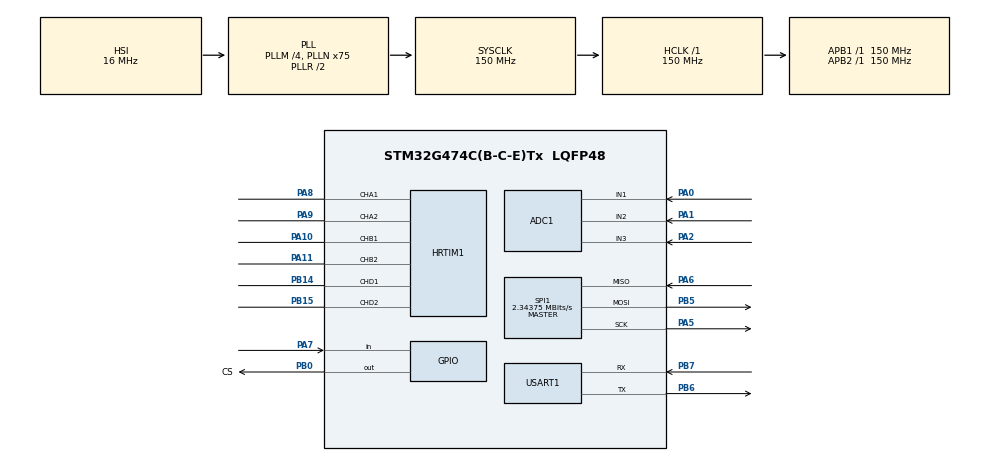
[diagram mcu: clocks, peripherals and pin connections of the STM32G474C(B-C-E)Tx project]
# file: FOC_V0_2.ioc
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ADC1.DMAContinuousRequests=DISABLE
ADC1.EnableInjectedConversion=ENABLE
ADC1.EnableRegularConversion=DISABLE
ADC1.ExternalTrigInjecConv=ADC_EXTERNALTRIGINJEC_HRTIM_TRG2
ADC1.GainCompensation=0
ADC1.InjNumberOfConversion=3
ADC1.InjectedChannel-6\#ChannelInjectedConversion=ADC_CHANNEL_3
ADC1.InjectedChannel-7\#ChannelInjectedConversion=ADC_CHANNEL_2
ADC1.InjectedChannel-8\#ChannelInjectedConversion=ADC_CHANNEL_1
ADC1.InjectedOffsetNumber-6\#ChannelInjectedConversion=ADC_OFFSET_NONE
ADC1.InjectedOffsetNumber-7\#ChannelInjectedConversion=ADC_OFFSET_NONE
ADC1.InjectedOffsetNumber-8\#ChannelInjectedConversion=ADC_OFFSET_NONE
ADC1.InjectedRank-6\#ChannelInjectedConversion=1
ADC1.InjectedRank-7\#ChannelInjectedConversion=2
ADC1.InjectedRank-8\#ChannelInjectedConversion=3
ADC1.InjectedSamplingTime-6\#ChannelInjectedConversion=ADC_SAMPLETIME_24CYCLES_5
ADC1.InjectedSamplingTime-7\#ChannelInjectedConversion=ADC_SAMPLETIME_24CYCLES_5
ADC1.InjectedSamplingTime-8\#ChannelInjectedConversion=ADC_SAMPLETIME_24CYCLES_5
ADC1.Overrun=ADC_OVR_DATA_OVERWRITTEN
ADC1.Rank1_Channel=ADC_CHANNEL_3
ADC1.Rank2_Channel=ADC_CHANNEL_2
ADC1.Rank3_Channel=ADC_CHANNEL_1
ADC1.master=1
Dma.Request0=SPI1_RX
Dma.Request1=SPI1_TX
Dma.SPI1_RX.0.Direction=DMA_PERIPH_TO_MEMORY
Dma.SPI1_RX.0.EventEnable=DISABLE
Dma.SPI1_RX.0.Instance=DMA1_Channel1
Dma.SPI1_RX.0.MemDataAlignment=DMA_MDATAALIGN_BYTE
Dma.SPI1_RX.0.MemInc=DMA_MINC_ENABLE
Dma.SPI1_RX.0.Mode=DMA_NORMAL
Dma.SPI1_RX.0.PeriphDataAlignment=DMA_PDATAALIGN_BYTE
Dma.SPI1_RX.0.PeriphInc=DMA_PINC_DISABLE
Dma.SPI1_RX.0.Polarity=HAL_DMAMUX_REQ_GEN_RISING
Dma.SPI1_RX.0.Priority=DMA_PRIORITY_LOW
Dma.SPI1_RX.0.RequestNumber=1
Dma.SPI1_RX.0.SignalID=NONE
Dma.SPI1_RX.0.SyncEnable=DISABLE
Dma.SPI1_RX.0.SyncPolarity=HAL_DMAMUX_SYNC_NO_EVENT
Dma.SPI1_RX.0.SyncRequestNumber=1
Dma.SPI1_RX.0.SyncSignalID=NONE
Dma.SPI1_TX.1.Direction=DMA_MEMORY_TO_PERIPH
Dma.SPI1_TX.1.EventEnable=DISABLE
Dma.SPI1_TX.1.Instance=DMA1_Channel2
Dma.SPI1_TX.1.MemDataAlignment=DMA_MDATAALIGN_BYTE
Dma.SPI1_TX.1.MemInc=DMA_MINC_ENABLE
Dma.SPI1_TX.1.Mode=DMA_NORMAL
Dma.SPI1_TX.1.PeriphDataAlignment=DMA_PDATAALIGN_BYTE
Dma.SPI1_TX.1.PeriphInc=DMA_PINC_DISABLE
Dma.SPI1_TX.1.Polarity=HAL_DMAMUX_REQ_GEN_RISING
Dma.SPI1_TX.1.Priority=DMA_PRIORITY_LOW
Dma.SPI1_TX.1.RequestNumber=1
Dma.SPI1_TX.1.SignalID=NONE
Dma.SPI1_TX.1.SyncEnable=DISABLE
Dma.SPI1_TX.1.SyncPolarity=HAL_DMAMUX_SYNC_NO_EVENT
Dma.SPI1_TX.1.SyncRequestNumber=1
Dma.SPI1_TX.1.SyncSignalID=NONE
HRTIM1.ADCTrigger2_Source1=HRTIM_ADCTRIGGEREVENT24_MASTER_CMP1
HRTIM1.ADCTrigger_Id1=__NULL
HRTIM1.ADCTrigger_Id2=HRTIM_ADCTRIGGER_2
HRTIM1.CompareUnit1-MasterTimer=HRTIM_COMPAREUNIT_1
HRTIM1.CompareUnit1-Output_TA1TA2=HRTIM_COMPAREUNIT_1
HRTIM1.CompareUnit1-Output_TB1TB2=HRTIM_COMPAREUNIT_1
HRTIM1.CompareUnit1-Output_TD1TD2=HRTIM_COMPAREUNIT_1
HRTIM1.CompareUnit2-MasterTimer=__NULL
HRTIM1.CompareUnit2-Output_TA1TA2=__NULL
HRTIM1.CompareValue1-MasterTimer=59999
HRTIM1.CompareValue1-Output_TA1TA2=20000
HRTIM1.CompareValue1-Output_TB1TB2=20000
HRTIM1.CompareValue1-Output_TD1TD2=20000
HRTIM1.DeadTimeInsertion-Output_TA1TA2=HRTIM_TIMDEADTIMEINSERTION_ENABLED
HRTIM1.DeadTimeInsertion-Output_TB1TB2=HRTIM_TIMDEADTIMEINSERTION_ENABLED
HRTIM1.DeadTimeInsertion-Output_TD1TD2=HRTIM_TIMDEADTIMEINSERTION_ENABLED
HRTIM1.Event_EEV2=__NULL
HRTIM1.FallingValue-Output_TA1TA2=30
HRTIM1.FallingValue-Output_TB1TB2=30
HRTIM1.FallingValue-Output_TD1TD2=30
HRTIM1.GreaterCMP1_TA=HRTIM_TIMERGTCMP1_GREATER
HRTIM1.GreaterCMP1_TB=HRTIM_TIMERGTCMP1_GREATER
HRTIM1.GreaterCMP1_TD=HRTIM_TIMERGTCMP1_GREATER
HRTIM1.NumberADCTriggerSource2=1
HRTIM1.NumberFaultEnable-Output_TB1TB2=0
HRTIM1.NumberResetSource1-Output_TA1TA2=1
HRTIM1.NumberResetSource1-Output_TB1TB2=1
HRTIM1.NumberResetSource1-Output_TD1TD2=1
HRTIM1.NumberResetTrigger-Output_TB1TB2=0
HRTIM1.NumberResetTrigger-Output_TD1TD2=0
HRTIM1.NumberSetSource1-Output_TA1TA2=1
HRTIM1.NumberSetSource1-Output_TB1TB2=1
HRTIM1.NumberSetSource1-Output_TD1TD2=1
HRTIM1.NumberUpdateTrigger-Output_TA1TA2=1
HRTIM1.NumberUpdateTrigger-Output_TB1TB2=1
HRTIM1.NumberUpdateTrigger-Output_TD1TD2=1
HRTIM1.Periode_MASTER=60000
HRTIM1.Periode_TA=60000
HRTIM1.Periode_TB=60000
HRTIM1.Periode_TD=60000
HRTIM1.PreloadEnable-MasterTimer=HRTIM_PRELOAD_ENABLED
HRTIM1.PreloadEnable-Output_TA1TA2=HRTIM_PRELOAD_ENABLED
HRTIM1.PreloadEnable-Output_TB1TB2=HRTIM_PRELOAD_ENABLED
HRTIM1.PreloadEnable-Output_TD1TD2=HRTIM_PRELOAD_ENABLED
HRTIM1.PrescalerDead-Output_TA1TA2=HRTIM_TIMDEADTIME_PRESCALERRATIO_DIV2
HRTIM1.PrescalerDead-Output_TB1TB2=HRTIM_TIMDEADTIME_PRESCALERRATIO_DIV2
HRTIM1.PrescalerDead-Output_TD1TD2=HRTIM_TIMDEADTIME_PRESCALERRATIO_DIV2
HRTIM1.PrescalerRatio_MASTER=HRTIM_PRESCALERRATIO_MUL8
HRTIM1.PrescalerRatio_TA=HRTIM_PRESCALERRATIO_MUL16
HRTIM1.PrescalerRatio_TB=HRTIM_PRESCALERRATIO_MUL16
HRTIM1.PrescalerRatio_TD=HRTIM_PRESCALERRATIO_MUL16
HRTIM1.RepetitionUpdate-MasterTimer=HRTIM_UPDATEONREPETITION_ENABLED
HRTIM1.RepetitionUpdate-Output_TA1TA2=HRTIM_UPDATEONREPETITION_ENABLED
HRTIM1.RepetitionUpdate-Output_TB1TB2=HRTIM_UPDATEONREPETITION_ENABLED
HRTIM1.RepetitionUpdate-Output_TD1TD2=HRTIM_UPDATEONREPETITION_ENABLED
HRTIM1.ResetOutput1_Source1-Output_TA1TA2=HRTIM_OUTPUTRESET_NONE
HRTIM1.ResetOutput1_Source1-Output_TB1TB2=HRTIM_OUTPUTRESET_NONE
HRTIM1.ResetOutput1_Source1-Output_TD1TD2=HRTIM_OUTPUTRESET_NONE
HRTIM1.ResetUpdate-Output_TB1TB2=HRTIM_TIMUPDATEONRESET_DISABLED
HRTIM1.RisingValue-Output_TA1TA2=30
HRTIM1.RisingValue-Output_TB1TB2=30
HRTIM1.RisingValue-Output_TD1TD2=30
HRTIM1.SetOutput1_Source1-Output_TA1TA2=HRTIM_OUTPUTSET_TIMCMP1
HRTIM1.SetOutput1_Source1-Output_TB1TB2=HRTIM_OUTPUTSET_TIMCMP1
HRTIM1.SetOutput1_Source1-Output_TD1TD2=HRTIM_OUTPUTSET_TIMCMP1
HRTIM1.UpDownMode-Output_TA1TA2=HRTIM_TIMERUPDOWNMODE_UPDOWN
HRTIM1.UpDownMode-Output_TB1TB2=HRTIM_TIMERUPDOWNMODE_UPDOWN
HRTIM1.UpDownMode-Output_TD1TD2=HRTIM_TIMERUPDOWNMODE_UPDOWN
HRTIM1.UpdateTrigger1-Output_TA1TA2=HRTIM_TIMUPDATETRIGGER_MASTER
HRTIM1.UpdateTrigger1-Output_TB1TB2=HRTIM_TIMUPDATETRIGGER_MASTER
HRTIM1.UpdateTrigger1-Output_TD1TD2=HRTIM_TIMUPDATETRIGGER_MASTER
HRTIM1.postscaler2=0
Mcu.Family=STM32G4
Mcu.Name=STM32G474C(B-C-E)Tx
Mcu.Package=LQFP48
NVIC.ADC1_2_IRQn=true\:0\:0\:false\:false\:true\:true\:true\:true
NVIC.DMA1_Channel1_IRQn=true\:0\:0\:false\:false\:true\:false\:true\:true
NVIC.DMA1_Channel2_IRQn=true\:0\:0\:false\:false\:true\:false\:true\:true
NVIC.PriorityGroup=NVIC_PRIORITYGROUP_4
NVIC.USART1_IRQn=true\:0\:0\:false\:false\:true\:true\:true\:true
PA0.Mode=IN1-Single-Ended
PA0.Signal=ADC1_IN1
PA1.Mode=IN2-Single-Ended
PA1.Signal=ADC1_IN2
PA10.Mode=Output_TB1TB2
PA10.Signal=HRTIM1_CHB1
PA11.Mode=Output_TB1TB2
PA11.Signal=HRTIM1_CHB2
PA13.Mode=Serial_Wire
PA13.Signal=SYS_JTMS-SWDIO
PA14.Mode=Serial_Wire
PA14.Signal=SYS_JTCK-SWCLK
PA2.Mode=IN3-Single-Ended
PA2.Signal=ADC1_IN3
PA5.GPIO_Speed=GPIO_SPEED_FREQ_VERY_HIGH
PA5.Mode=Full_Duplex_Master
PA5.Signal=SPI1_SCK
PA6.GPIO_Speed=GPIO_SPEED_FREQ_VERY_HIGH
PA6.Mode=Full_Duplex_Master
PA6.Signal=SPI1_MISO
PA7.GPIO_PuPd=GPIO_PULLUP
PA7.Signal=GPIO_Input
PA8.Mode=Output_TA1TA2
PA8.Signal=HRTIM1_CHA1
PA9.Mode=Output_TA1TA2
PA9.Signal=HRTIM1_CHA2
PB0.GPIO_Label=CS
PB0.GPIO_PuPd=GPIO_NOPULL
PB0.GPIO_Speed=GPIO_SPEED_FREQ_VERY_HIGH
PB0.PinState=GPIO_PIN_SET
PB0.Signal=GPIO_Output
PB14.Mode=Output_TD1TD2
PB14.Signal=HRTIM1_CHD1
PB15.Mode=Output_TD1TD2
PB15.Signal=HRTIM1_CHD2
PB5.GPIO_Speed=GPIO_SPEED_FREQ_VERY_HIGH
PB5.Mode=Full_Duplex_Master
PB5.Signal=SPI1_MOSI
PB6.Mode=Asynchronous
PB6.Signal=USART1_TX
PB7.Mode=Asynchronous
PB7.Signal=USART1_RX
PF0-OSC_IN.Mode=HSE-External-Oscillator
PF0-OSC_IN.Signal=RCC_OSC_IN
PF1-OSC_OUT.Mode=HSE-External-Oscillator
PF1-OSC_OUT.Signal=RCC_OSC_OUT
ProjectManager.HeapSize=0x200
ProjectManager.StackSize=0x400
ProjectManager.TargetToolchain=CMake
RCC.ADC12Freq_Value=150000000
RCC.ADC345Freq_Value=150000000
RCC.AHBFreq_Value=150000000
RCC.APB1Freq_Value=150000000
RCC.APB1TimFreq_Value=150000000
RCC.APB2Freq_Value=150000000
RCC.APB2TimFreq_Value=150000000
RCC.CortexFreq_Value=150000000
RCC.EXTERNAL_CLOCK_VALUE=12288000
RCC.HCLKFreq_Value=150000000
RCC.HSE_VALUE=8000000
RCC.HSI48_VALUE=48000000
RCC.HSI_VALUE=16000000
RCC.LSE_VALUE=32768
RCC.PLLM=RCC_PLLM_DIV4
RCC.PLLN=75
RCC.SYSCLKFreq_VALUE=150000000
RCC.SYSCLKSource=RCC_SYSCLKSOURCE_PLLCLK
RCC.USBFreq_Value=150000000
RCC.VCOOutputFreq_Value=300000000
SPI1.BaudRatePrescaler=SPI_BAUDRATEPRESCALER_64
SPI1.CLKPhase=SPI_PHASE_2EDGE
SPI1.CalculateBaudRate=2.34375 MBits/s
SPI1.DataSize=SPI_DATASIZE_8BIT
SPI1.Direction=SPI_DIRECTION_2LINES
SPI1.Mode=SPI_MODE_MASTER
SPI1.VirtualType=VM_MASTER
USART1.VirtualMode-Asynchronous=VM_ASYNC
VP_HRTIM1_VS_hrtimMasterTimerNoOutput.Mode=MasterTimer
VP_SYS_VS_DBSignals.Mode=DisableDeadBatterySignals
board=custom

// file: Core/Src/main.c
/* USER CODE BEGIN Header */
/**
  ******************************************************************************
  * @file           : main.c
  * @brief          : Main program body
  ******************************************************************************
  * @attention
  *
  * Copyright (c) 2026 STMicroelectronics.
  * All rights reserved.
  *
  * This software is licensed under terms that can be found in the LICENSE file
  * in the root directory of this software component.
  * If no LICENSE file comes with this software, it is provided AS-IS.
  *
  ******************************************************************************
  */
/* USER CODE END Header */
#include "main.h"
#include "adc.h"
#include "dma.h"
#include "hrtim.h"
#include "spi.h"
#include "usart.h"
#include "gpio.h"

/* USER CODE BEGIN Includes */
#include "app_uart.h"
#include "app_current_sense.h"
#include "app_openloop.h"
#include "app_foc.h"
#include "app_serial.h"
#include "mt6701.h"
#include "stdio.h"
/* USER CODE END Includes */

void SystemClock_Config(void);

int main(void)
{

  /* MCU Configuration--------------------------------------------------------*/

  /* Reset of all peripherals, Initializes the Flash interface and the Systick. */
  HAL_Init();

  /* Configure the system clock */
  SystemClock_Config();

  /* Initialize all configured peripherals */
  MX_GPIO_Init();
  MX_DMA_Init();
  MX_USART1_UART_Init();
  MX_SPI1_Init();
  MX_HRTIM1_Init();
  MX_ADC1_Init();
  /* USER CODE BEGIN 2 */
  HAL_NVIC_SetPriority(USART1_IRQn, 2, 0);
  printf("init start\r\n");
  mt6701_init();

  /* 启动 ADC1 注入组 (JEOS 中断), 由 HRTIM ADC_TRG2 触发 */
  curr_sense_init();

  /*
   * 先启动 HRTIM 计数器产生 ADC 触发脉冲,
   * 但不启动 PWM 输出 (电机无电流), 用于零点校准.
   */
  HAL_HRTIM_WaveformCounterStart(&hhrtim1, HRTIM_TIMERID_MASTER
                                          | HRTIM_TIMERID_TIMER_A
                                          | HRTIM_TIMERID_TIMER_B
                                          | HRTIM_TIMERID_TIMER_D);

  /* 等待 ADC 稳定 + 注入组开始转换 */
  HAL_Delay(100);

  /* 零点校准: 采集 1024 次取平均 (电机必须静止) */
  printf("calibrating ADC offset (1024 samples)...\r\n");
  curr_sense_calibrate(1024);

  uint16_t off_a, off_b, off_c;
  curr_sense_get_offsets(&off_a, &off_b, &off_c);
  printf("ADC offset: A=%u, B=%u, C=%u\r\n", off_a, off_b, off_c);

  /* 启动 PWM 输出 */
  HAL_HRTIM_WaveformOutputStart(&hhrtim1, HRTIM_OUTPUT_TA1 | HRTIM_OUTPUT_TA2
                                       | HRTIM_OUTPUT_TB1 | HRTIM_OUTPUT_TB2
                                       | HRTIM_OUTPUT_TD1 | HRTIM_OUTPUT_TD2);

  /* 初始化开环电压驱动 (默认不输出, 等待上位机命令) */
  openloop_init();
  openloop_set_freq(10.0f);
  openloop_set_voltage(0.0f);   /* K=0, 无输出 */

  /* 初始化闭环 FOC (默认 idle, 从 openloop 读取 encoder offset) */
  foc_init();

  /* 初始化串口命令解析 (启动 UART RX 中断) */
  serial_init();

  printf("init done. type ? for help\r\n");

  /* USER CODE END 2 */

  /* Infinite loop */
  while (1)
  {

    /* USER CODE BEGIN 3 */
    /*
     * FOC 电流环在 ADC JEOS ISR 中运行 (20kHz), 主循环仅:
     *   - 开环: 清 flag + openloop_step()
     *   - 串口: serial_poll()
     *   - Trace: ISR 捕获, 主循环打印
     */
    if (curr_sense_data_ready()) {
        if (foc_is_enabled()) {
            /* FOC: ISR 已处理全部, 仅清标志 */
            __disable_irq();
            new_data_flag_clear();
            __enable_irq();
        } else {
            /* 开环: 清标志 + step */
            __disable_irq();
            new_data_flag_clear();
            __enable_irq();
            openloop_step();
        }
        /* 编码器 DMA 已由 ISR 触发 */
    }

    serial_poll();
    foc_trace_poll();
    openloop_trace_poll();
  }

  /* USER CODE END 3 */
}

void SystemClock_Config(void)
{
  RCC_OscInitTypeDef RCC_OscInitStruct = {0};
  RCC_ClkInitTypeDef RCC_ClkInitStruct = {0};

  /** Configure the main internal regulator output voltage
  */
  HAL_PWREx_ControlVoltageScaling(PWR_REGULATOR_VOLTAGE_SCALE1);

  /** Initializes the RCC Oscillators according to the specified parameters
  * in the RCC_OscInitTypeDef structure.
  */
  RCC_OscInitStruct.OscillatorType = RCC_OSCILLATORTYPE_HSI;
  RCC_OscInitStruct.HSIState = RCC_HSI_ON;
  RCC_OscInitStruct.HSICalibrationValue = RCC_HSICALIBRATION_DEFAULT;
  RCC_OscInitStruct.PLL.PLLState = RCC_PLL_ON;
  RCC_OscInitStruct.PLL.PLLSource = RCC_PLLSOURCE_HSI;
  RCC_OscInitStruct.PLL.PLLM = RCC_PLLM_DIV4;
  RCC_OscInitStruct.PLL.PLLN = 75;
  RCC_OscInitStruct.PLL.PLLP = RCC_PLLP_DIV2;
  RCC_OscInitStruct.PLL.PLLQ = RCC_PLLQ_DIV2;
  RCC_OscInitStruct.PLL.PLLR = RCC_PLLR_DIV2;
  if (HAL_RCC_OscConfig(&RCC_OscInitStruct) != HAL_OK)
  {
    Error_Handler();
  }

  /** Initializes the CPU, AHB and APB buses clocks
  */
  RCC_ClkInitStruct.ClockType = RCC_CLOCKTYPE_HCLK|RCC_CLOCKTYPE_SYSCLK
                              |RCC_CLOCKTYPE_PCLK1|RCC_CLOCKTYPE_PCLK2;
  RCC_ClkInitStruct.SYSCLKSource = RCC_SYSCLKSOURCE_PLLCLK;
  RCC_ClkInitStruct.AHBCLKDivider = RCC_SYSCLK_DIV1;
  RCC_ClkInitStruct.APB1CLKDivider = RCC_HCLK_DIV1;
  RCC_ClkInitStruct.APB2CLKDivider = RCC_HCLK_DIV1;

  if (HAL_RCC_ClockConfig(&RCC_ClkInitStruct, FLASH_LATENCY_4) != HAL_OK)
  {
    Error_Handler();
  }
}

void Error_Handler(void)
{
  __disable_irq();
  while (1)
  {
  }
}
